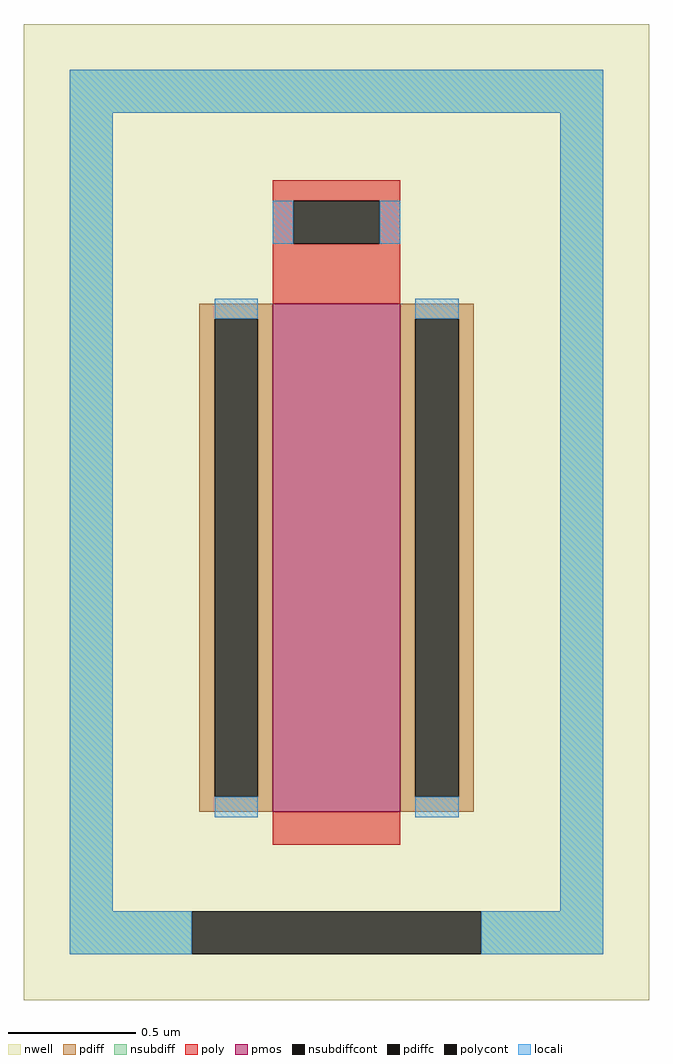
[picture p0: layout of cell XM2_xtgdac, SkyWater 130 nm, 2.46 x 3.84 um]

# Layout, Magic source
magic
tech sky130A
magscale 1 2
<< nwell >>
rect -246 -384 246 384
<< pmos >>
rect -50 -236 50 164
<< pdiff >>
rect -108 152 -50 164
rect -108 -224 -96 152
rect -62 -224 -50 152
rect -108 -236 -50 -224
rect 50 152 108 164
rect 50 -224 62 152
rect 96 -224 108 152
rect 50 -236 108 -224
<< pdiffc >>
rect -96 -224 -62 152
rect 62 -224 96 152
<< nsubdiff >>
rect -210 314 210 348
rect -210 -314 -176 314
rect 176 -314 210 314
rect -210 -348 -114 -314
rect 114 -348 210 -314
<< nsubdiffcont >>
rect -114 -348 114 -314
<< poly >>
rect -50 245 50 261
rect -50 211 -34 245
rect 34 211 50 245
rect -50 164 50 211
rect -50 -262 50 -236
<< polycont >>
rect -34 211 34 245
<< locali >>
rect -210 314 210 348
rect -210 -314 -176 314
rect -50 211 -34 245
rect 34 211 50 245
rect -96 152 -62 168
rect -96 -240 -62 -224
rect 62 152 96 168
rect 62 -240 96 -224
rect 176 -314 210 314
rect -210 -348 -114 -314
rect 114 -348 210 -314
<< properties >>
string FIXED_BBOX -193 -331 193 331
<< end >>
